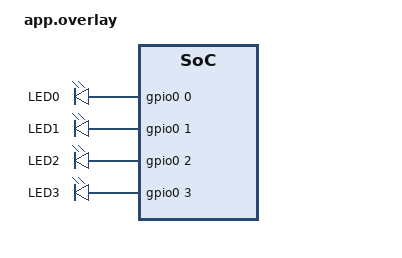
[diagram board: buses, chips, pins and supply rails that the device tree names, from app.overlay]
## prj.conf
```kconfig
CONFIG_GPIO=y
CONFIG_USB_DEVICE_STACK=y
CONFIG_USB_CDC_ACM=y
CONFIG_SERIAL=y
CONFIG_UART_LINE_CTRL=y
CONFIG_CONSOLE=y
CONFIG_UART_CONSOLE=y
```

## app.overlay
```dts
/ {
	aliases {
		led0 = &ext_led0;
		led1 = &ext_led1;
		led2 = &ext_led2;
		led3 = &ext_led3;
	};

	leds {
		compatible = "gpio-leds";

		ext_led0: led_0 {
			gpios = <&gpio0 0 GPIO_ACTIVE_HIGH>;
			label = "LED0";
		};

		ext_led1: led_1 {
			gpios = <&gpio0 1 GPIO_ACTIVE_HIGH>;
			label = "LED1";
		};

		ext_led2: led_2 {
			gpios = <&gpio0 2 GPIO_ACTIVE_HIGH>;
			label = "LED2";
		};

		ext_led3: led_3 {
			gpios = <&gpio0 3 GPIO_ACTIVE_HIGH>;
			label = "LED3";
		};
	};
};
```

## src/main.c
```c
#include <zephyr/kernel.h>
#include <zephyr/drivers/gpio.h>

/* Get LED nodes from DT aliases */
#define LED0_NODE DT_ALIAS(led0)
#define LED1_NODE DT_ALIAS(led1)
#define LED2_NODE DT_ALIAS(led2)
#define LED3_NODE DT_ALIAS(led3)

/* Create GPIO specifications for each LED */
static const struct gpio_dt_spec led0 = GPIO_DT_SPEC_GET(LED0_NODE, gpios);
static const struct gpio_dt_spec led1 = GPIO_DT_SPEC_GET(LED1_NODE, gpios);
static const struct gpio_dt_spec led2 = GPIO_DT_SPEC_GET(LED2_NODE, gpios);
static const struct gpio_dt_spec led3 = GPIO_DT_SPEC_GET(LED3_NODE, gpios);

/* Thread stack size and priority */
#define STACK_SIZE 512
#define PRIORITY 5

/* Blink periods (milliseconds) */
#define LED0_DELAY_MS 200
#define LED1_DELAY_MS 400
#define LED2_DELAY_MS 600
#define LED3_DELAY_MS 800

/* Thread stacks */
K_THREAD_STACK_DEFINE(led0_stack, STACK_SIZE);
K_THREAD_STACK_DEFINE(led1_stack, STACK_SIZE);
K_THREAD_STACK_DEFINE(led2_stack, STACK_SIZE);
K_THREAD_STACK_DEFINE(led3_stack, STACK_SIZE);

/* Thread control blocks */
static struct k_thread led0_thread_data;
static struct k_thread led1_thread_data;
static struct k_thread led2_thread_data;
static struct k_thread led3_thread_data;

/* Thread function for LED0 */
void blink_led0(void *arg1, void *arg2, void *arg3)
{
	ARG_UNUSED(arg1);
	ARG_UNUSED(arg2);
	ARG_UNUSED(arg3);

	while (1) {
		gpio_pin_toggle_dt(&led0);
		k_msleep(LED0_DELAY_MS);
	}
}

/* Thread function for LED1 */
void blink_led1(void *arg1, void *arg2, void *arg3)
{
	ARG_UNUSED(arg1);
	ARG_UNUSED(arg2);
	ARG_UNUSED(arg3);

	while (1) {
		gpio_pin_toggle_dt(&led1);
		k_msleep(LED1_DELAY_MS);
	}
}

/* Thread function for LED2 */
void blink_led2(void *arg1, void *arg2, void *arg3)
{
	ARG_UNUSED(arg1);
	ARG_UNUSED(arg2);
	ARG_UNUSED(arg3);

	while (1) {
		gpio_pin_toggle_dt(&led2);
		k_msleep(LED2_DELAY_MS);
	}
}

/* Thread function for LED3 */
void blink_led3(void *arg1, void *arg2, void *arg3)
{
	ARG_UNUSED(arg1);
	ARG_UNUSED(arg2);
	ARG_UNUSED(arg3);

	while (1) {
		gpio_pin_toggle_dt(&led3);
		k_msleep(LED3_DELAY_MS);
	}
}

int main(void)
{
   if (usb_enable(NULL)) {
        return 0;
   }
    
   k_sleep(K_MSEC(1000)); 
    
   printk("USB Serial initialized!\n");
   
	/* Check that all GPIO devices are ready */
	if (!gpio_is_ready_dt(&led0) ||
	    !gpio_is_ready_dt(&led1) ||
	    !gpio_is_ready_dt(&led2) ||
	    !gpio_is_ready_dt(&led3)) {
		return 0;
	}

	/* Configure all LEDs as outputs, initially OFF */
	gpio_pin_configure_dt(&led0, GPIO_OUTPUT_INACTIVE);
	gpio_pin_configure_dt(&led1, GPIO_OUTPUT_INACTIVE);
	gpio_pin_configure_dt(&led2, GPIO_OUTPUT_INACTIVE);
	gpio_pin_configure_dt(&led3, GPIO_OUTPUT_INACTIVE);

	/* Create 4 threads, one for each LED */
	k_thread_create(&led0_thread_data, led0_stack, STACK_SIZE,
			blink_led0,
			NULL, NULL, NULL,
			PRIORITY, 0, K_NO_WAIT);

	k_thread_create(&led1_thread_data, led1_stack, STACK_SIZE,
			blink_led1,
			NULL, NULL, NULL,
			PRIORITY, 0, K_NO_WAIT);

	k_thread_create(&led2_thread_data, led2_stack, STACK_SIZE,
			blink_led2,
			NULL, NULL, NULL,
			PRIORITY, 0, K_NO_WAIT);

	k_thread_create(&led3_thread_data, led3_stack, STACK_SIZE,
			blink_led3,
			NULL, NULL, NULL,
			PRIORITY, 0, K_NO_WAIT);

	/* main thread can sleep forever */
	while (1) {
		k_msleep(1000);
	}

	return 0;
}
```
